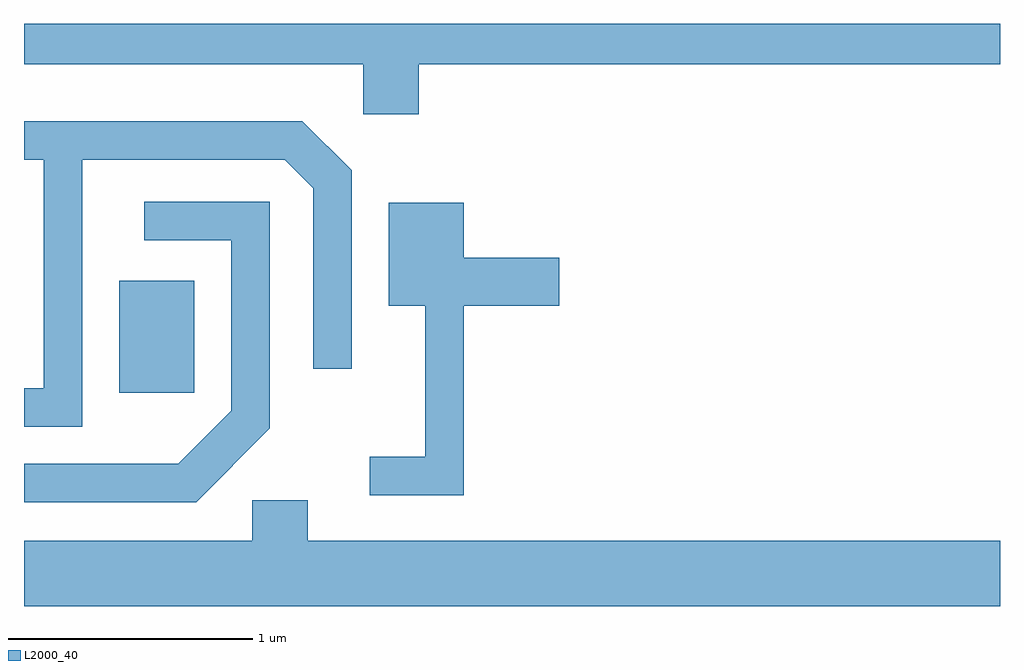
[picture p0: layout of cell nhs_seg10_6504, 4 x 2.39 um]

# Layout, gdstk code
import gdstk
lib = gdstk.Library(unit=1e-6, precision=1e-09)
def R(c, l, rs):  # rectangles x0, y0, x1, y1
    for r in rs: c.add(gdstk.rectangle(r[:2], r[2:], *l))
def P(c, l, *ps):  # polygons
    for p in ps: c.add(gdstk.Polygon(p, *l))
L2000_40 = (2000, 40)

nhs_seg10_6504 = lib.new_cell('nhs_seg10_6504')
R(nhs_seg10_6504, L2000_40, [(378.001,2117.011,378.309,2117.469)])
P(nhs_seg10_6504, L2000_40, [(379.229,2118.356),(381.611,2118.356),(381.611,2118.522),(377.611,2118.522),(377.611,2118.356),(379.001,2118.356),(379.001,2118.151),(379.229,2118.151)],
  [(377.849,2117.966),(378.679,2117.966),(378.796,2117.849),(378.796,2117.108),(378.954,2117.108),(378.954,2117.922),(378.752,2118.124),(377.613,2118.124),(377.613,2117.966),(377.691,2117.966),(377.691,2117.029),(377.611,2117.029),(377.611,2116.871),(377.849,2116.871)],
  [(378.619,2116.864),(378.619,2117.794),(378.103,2117.794),(378.103,2117.636),(378.461,2117.636),(378.461,2116.937),(378.244,2116.719),(377.611,2116.719),(377.611,2116.561),(378.317,2116.561)],
  [(379.414,2117.366),(379.804,2117.366),(379.804,2117.564),(379.414,2117.564),(379.414,2117.789),(379.106,2117.789),(379.106,2117.366),(379.256,2117.366),(379.256,2116.749),(379.028,2116.749),(379.028,2116.591),(379.414,2116.591)],
  [(381.611,2116.404),(378.774,2116.404),(378.774,2116.569),(378.546,2116.569),(378.546,2116.404),(377.611,2116.404),(377.611,2116.136),(381.611,2116.136)])

lib.write_gds('nhs_seg10_6504.gds')
